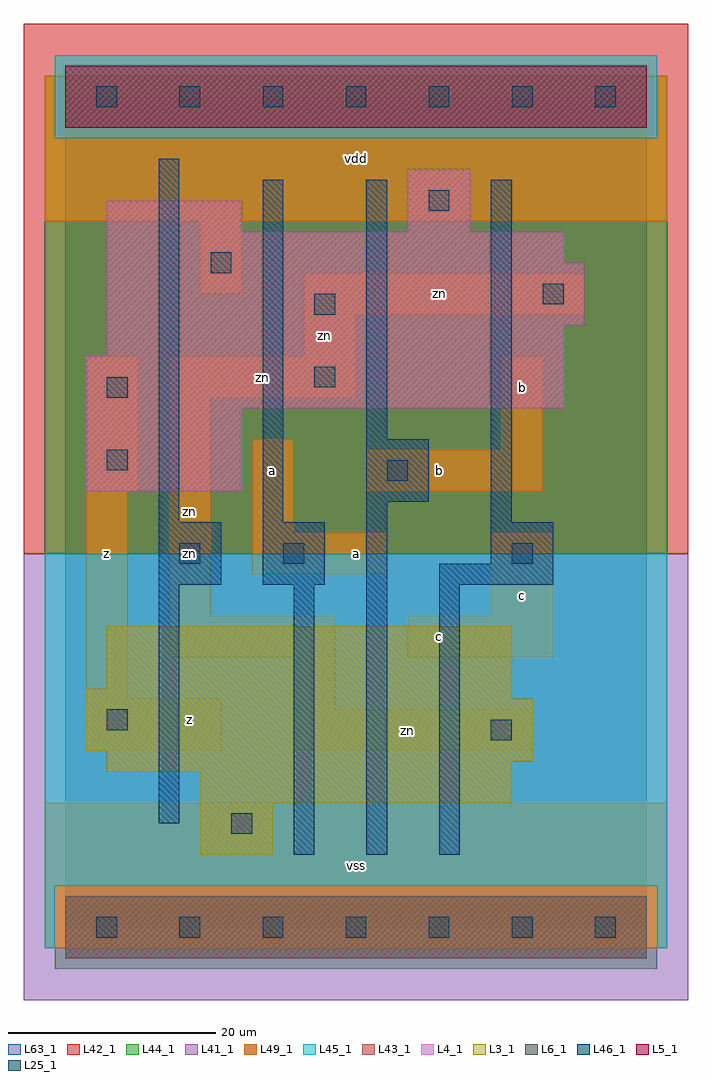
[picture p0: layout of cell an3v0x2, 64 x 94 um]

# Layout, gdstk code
import gdstk
lib = gdstk.Library(unit=1e-6, precision=1e-09)
def R(c, l, rs):  # rectangles x0, y0, x1, y1
    for r in rs: c.add(gdstk.rectangle(r[:2], r[2:], *l))
def A(c, l, x, y, w, h, nx, ny, dx, dy):  # array of equal rectangles
    R(c, l, [(x+i*dx, y+j*dy, x+i*dx+w, y+j*dy+h) for i in range(nx) for j in range(ny)])
L3_1 = (3, 1)
L4_1 = (4, 1)
L5_1 = (5, 1)
L6_1 = (6, 1)
L25_1 = (25, 1)
L41_1 = (41, 1)
L42_1 = (42, 1)
L43_1 = (43, 1)
L44_1 = (44, 1)
L45_1 = (45, 1)
L46_1 = (46, 1)
L49_1 = (49, 1)
L63_1 = (63, 1)

an3v0x2 = lib.new_cell('an3v0x2')
R(an3v0x2, L3_1, [(13,7,20,12), (13,12,43,15), (4,15,43,16), (4,16,45,17), (2,17,45,22), (2,22,43,23), (4,23,43,29)])
R(an3v0x2, L4_1, [(2,42,17,50), (2,50,48,55), (4,55,48,58), (4,58,50,64), (4,64,48,67), (4,67,17,70), (33,67,39,73)])
R(an3v0x2, L5_1, [(0,77,56,83)])
R(an3v0x2, L6_1, [(0,-3,56,3), (0,-3,56,3)])
A(an3v0x2, L25_1, 3, -1, 2, 2, 7, 2, 8, 80)
R(an3v0x2, L25_1, [(16,9,18,11), (41,18,43,20), (4,19,6,21), (11,35,13,37), (21,35,23,37), (43,35,45,37), (31,43,33,45), (4,44,6,46), (4,51,6,53), (24,52,26,54), (24,59,26,61), (46,60,48,62), (14,63,16,65), (35,69,37,71)])
R(an3v0x2, L41_1, [(-4,-7,60,36)])
R(an3v0x2, L42_1, [(-4,36,60,87)])
R(an3v0x2, L43_1, [(0,-3,56,3), (13,7,20,12), (13,12,43,15), (4,15,43,16), (4,16,45,17), (2,17,45,22), (2,22,43,23), (4,23,43,29), (2,42,17,50), (2,50,48,55), (4,55,48,58), (4,58,50,64), (4,64,48,67), (4,67,17,70), (33,67,39,73), (0,77,56,83)])
R(an3v0x2, L44_1, [(-1,-4,57,4), (-2,36,58,76), (-2,76,-1,82), (57,76,58,82)])
R(an3v0x2, L45_1, [(-2,-2,-1,4), (57,-2,58,4), (-2,4,58,36), (-1,76,57,84)])
R(an3v0x2, L46_1, [(22,7,24,33), (29,7,31,41), (36,7,38,33), (9,10,11,33), (9,33,15,39), (19,33,25,39), (36,33,47,35), (41,35,47,39), (9,39,11,74), (19,39,21,72), (41,39,43,72), (29,41,35,47), (29,47,31,72)])
R(an3v0x2, L49_1, [(-2,-2,58,12), (2,17,15,22), (22,17,45,21), (22,21,26,26), (2,22,6,42), (10,26,26,30), (33,26,47,30), (10,30,14,51), (41,30,47,38), (18,34,31,38), (18,38,22,47), (2,42,7,55), (29,42,46,46), (42,46,46,55), (10,51,28,55), (23,55,28,59), (23,59,50,63), (13,61,17,68), (-2,68,58,82)])
R(an3v0x2, L63_1, [(0,0,56,80)])
an3v0x2.add(gdstk.Label('zn', (12,36), layer=49, texttype=1))
an3v0x2.add(gdstk.Label('z', (4,36), layer=49, texttype=1))
an3v0x2.add(gdstk.Label('z', (12,20), layer=49, texttype=1))
an3v0x2.add(gdstk.Label('a', (20,44), layer=49, texttype=1))
an3v0x2.add(gdstk.Label('zn', (12,40), layer=49, texttype=1))
an3v0x2.add(gdstk.Label('vss', (28,6), layer=49, texttype=1))
an3v0x2.add(gdstk.Label('a', (28,36), layer=49, texttype=1))
an3v0x2.add(gdstk.Label('c', (36,28), layer=49, texttype=1))
an3v0x2.add(gdstk.Label('b', (36,44), layer=49, texttype=1))
an3v0x2.add(gdstk.Label('zn', (19,53), layer=49, texttype=1))
an3v0x2.add(gdstk.Label('zn', (25,57), layer=49, texttype=1))
an3v0x2.add(gdstk.Label('vdd', (28,74), layer=49, texttype=1))
an3v0x2.add(gdstk.Label('zn', (33,19), layer=49, texttype=1))
an3v0x2.add(gdstk.Label('c', (44,32), layer=49, texttype=1))
an3v0x2.add(gdstk.Label('b', (44,52), layer=49, texttype=1))
an3v0x2.add(gdstk.Label('zn', (36,61), layer=49, texttype=1))

lib.write_gds('an3v0x2.gds')
